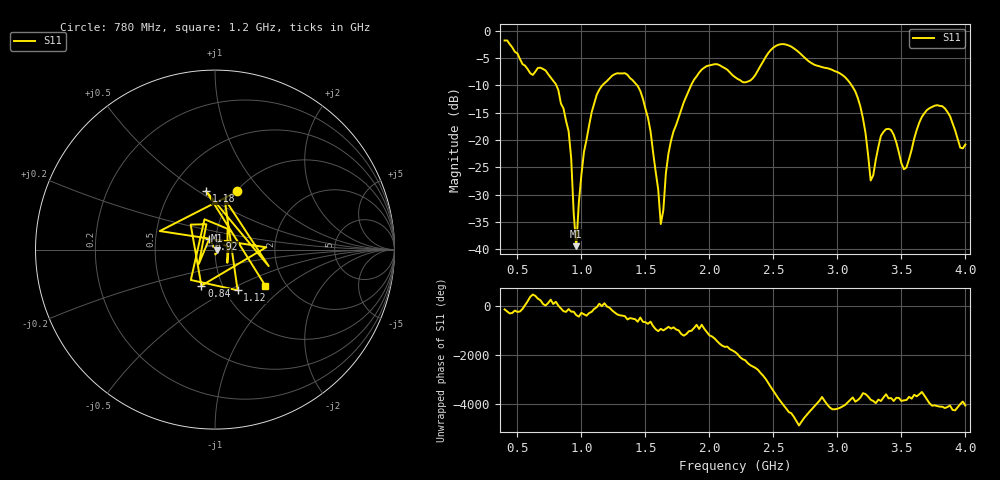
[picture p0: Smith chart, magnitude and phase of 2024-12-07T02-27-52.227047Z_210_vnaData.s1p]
!Created with skrf (http://scikit-rf.org).
# Hz S RI R 50.0
!freq ReS11 ImS11
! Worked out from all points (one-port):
!   181 points, 400 MHz to 4 GHz, reference 50 ohm
!   lowest |S11| = -39.4 dB at 960 MHz (marker M1), VSWR 1.02, Z = 51 - j0.49 ohm
!   |S11| at or under -10 dB: 804 MHz to 1.164 GHz (360 MHz wide, 36.6 % of centre); 1.435 GHz to 1.857 GHz (421.9 MHz wide, 25.6 % of centre); 3.111 GHz to end of sweep
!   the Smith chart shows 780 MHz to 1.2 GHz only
!   S11 on the Smith chart (normalised r, x): 780 MHz: 1.01, +0.74; 840 MHz: 0.80, -0.34; 920 MHz: 0.93, +0.11; 1.12 GHz: 1.14, -0.56; 1.18 GHz: 0.74, +0.54; 1.2 GHz: 1.58, -0.72
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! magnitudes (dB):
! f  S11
! 400 MHz  -1.8
! 780 MHz  -9.2
! 840 MHz  -13.4
! 860 MHz  -14.2
! 920 MHz  -23.3
! 960 MHz  -39.4
! 1.02 GHz  -22.2
! 1.12 GHz  -11.7
! 1.18 GHz  -9.6
! 1.2 GHz  -9.2
! 1.3 GHz  -7.8
! 1.48 GHz  -12.4
! 1.54 GHz  -18.4
! 1.62 GHz  -35.4
! 1.68 GHz  -22.5
! 1.76 GHz  -15.9
! 1.96 GHz  -6.8
! 2.2 GHz  -8.5
! 2.66 GHz  -3.2
! 3.1 GHz  -9.6
! 3.2 GHz  -16.1
! 3.26 GHz  -27.4
! 3.38 GHz  -18.0
! 3.52 GHz  -25.4
! 3.56 GHz  -23.5
! 3.66 GHz  -15.8
! 3.76 GHz  -13.7
! 4 GHz  -20.8
